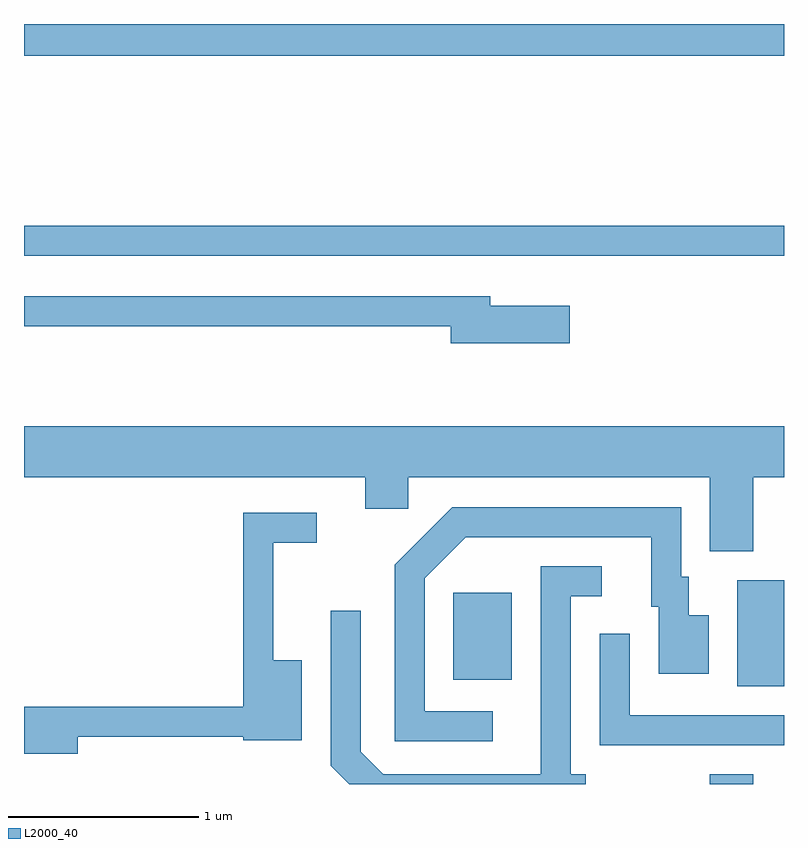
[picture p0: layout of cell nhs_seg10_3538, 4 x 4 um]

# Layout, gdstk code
import gdstk
lib = gdstk.Library(unit=1e-6, precision=1e-09)
def R(c, l, rs):  # rectangles x0, y0, x1, y1
    for r in rs: c.add(gdstk.rectangle(r[:2], r[2:], *l))
def P(c, l, *ps):  # polygons
    for p in ps: c.add(gdstk.Polygon(p, *l))
L2000_40 = (2000, 40)

nhs_seg10_3538 = lib.new_cell('nhs_seg10_3538')
R(nhs_seg10_3538, L2000_40, [(293.221,2114.522,293.449,2114.574), (293.366,2115.036,293.611,2115.594), (291.871,2115.071,292.179,2115.529), (289.611,2117.301,293.611,2117.459), (289.611,2118.356,293.611,2118.522)])
P(nhs_seg10_3538, L2000_40, [(292.484,2117.039),(292.064,2117.039),(292.064,2117.089),(289.611,2117.089),(289.611,2116.931),(291.856,2116.931),(291.856,2116.841),(292.484,2116.841)],
  [(293.449,2116.136),(293.611,2116.136),(293.611,2116.404),(289.611,2116.404),(289.611,2116.136),(291.406,2116.136),(291.406,2115.971),(291.634,2115.971),(291.634,2116.136),(293.221,2116.136),(293.221,2115.746),(293.449,2115.746)],
  [(292.078,2114.904),(291.719,2114.904),(291.719,2115.604),(291.937,2115.821),(292.911,2115.821),(292.911,2115.456),(292.951,2115.456),(292.951,2115.101),(293.214,2115.101),(293.214,2115.409),(293.109,2115.409),(293.109,2115.614),(293.069,2115.614),(293.069,2115.979),(291.864,2115.979),(291.561,2115.677),(291.561,2114.746),(292.078,2114.746)],
  [(289.894,2114.771),(290.766,2114.771),(290.766,2114.751),(291.074,2114.751),(291.074,2115.174),(290.924,2115.174),(290.924,2115.791),(291.153,2115.791),(291.153,2115.949),(290.766,2115.949),(290.766,2114.929),(289.611,2114.929),(289.611,2114.681),(289.894,2114.681)],
  [(292.568,2114.574),(292.489,2114.574),(292.489,2115.511),(292.653,2115.511),(292.653,2115.669),(292.331,2115.669),(292.331,2114.574),(291.502,2114.574),(291.384,2114.692),(291.384,2115.433),(291.226,2115.433),(291.226,2114.619),(291.323,2114.522),(292.568,2114.522)],
  [(293.611,2114.884),(292.799,2114.884),(292.799,2115.313),(292.641,2115.313),(292.641,2114.726),(293.611,2114.726)])

lib.write_gds('nhs_seg10_3538.gds')
